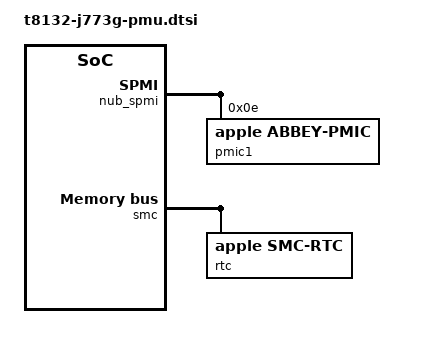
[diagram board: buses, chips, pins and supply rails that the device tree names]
// SPDX-License-Identifier: GPL-2.0+ OR MIT
/*
 * Main PMU (Abbey) NVMEM, SMC reboot/poweroff and SMC RTC for the M4 Mac
 * mini (J773g). Missing from GravityLinux gravity-m4 4fc326f6c2: its SMC node
 * has no reboot or rtc child, so poweroff has no handler and the RTC has no
 * offset cell.
 *
 * Values from this mini's macOS IORegistry (private/iodevicetree-j773g.txt,
 * 2026-10-13): nub-spmi0 IODeviceMemory 0x3_88714000; pmu-main@E compatible
 * "pmu,spmi","pmu,abbey", info-leg_scrpad 0xf800, info-pm_setting 0x2001,
 * info-clock_offset 0x2100 len 6, info-fault_shadow 0x867b len 0x10,
 * info-scrpad_socd 0x8b00 len 0x1800. All identical to the M4 Air (J713),
 * where upstream Omarchy-M4-Native proved the shutdown-state cells on
 * hardware (issue #24, PR #48, docs/j713-poweroff.md): without
 * shutdown_flag, SMC "off1" restarts the machine instead of powering off.
 *
 * The state cells sit at leg_scrpad + 1 / + 2 / + 0xf, as on every Apple
 * family in tree (T6030 Chapel has the same 0xf800 / 0x2001 / 0x2100 triple).
 *
 * Built into the linux-gravity-m4 DTB (pkgrel 5) and ladder group PMU.
 * Verified on the J773g 2026-10-17 (installed Omarchy, stage 2 with this DTB):
 * spmi_nvmem0 lists the cells, macsmc-reboot and macsmc-rtc bind, rtc0 keeps
 * time, and `systemctl poweroff` turns the mini fully off (power LED off).
 */

#include <dt-bindings/spmi/spmi.h>

&soc {
	nub_spmi: spmi@388714000 {
		compatible = "apple,t8132-spmi", "apple,t8103-spmi";
		reg = <0x3 0x88714000 0x0 0x100>;
		#address-cells = <2>;
		#size-cells = <0>;

		pmic1: pmic@e {
			compatible = "apple,abbey-pmic", "apple,spmi-nvmem";
			reg = <0xe SPMI_USID>;

			nvmem-layout {
				compatible = "fixed-layout";
				#address-cells = <1>;
				#size-cells = <1>;

				pm_setting: pm-setting@2001 {
					reg = <0x2001 0x1>;
				};

				rtc_offset: rtc-offset@2100 {
					reg = <0x2100 0x6>;
				};

				fault_shadow: fault-shadow@867b {
					reg = <0x867b 0x10>;
				};

				socd: socd@8b00 {
					reg = <0x8b00 0x1800>;
				};

				boot_stage: boot-stage@f801 {
					reg = <0xf801 0x1>;
				};

				boot_error_count: boot-error-count@f802,0 {
					reg = <0xf802 0x1>;
					bits = <0 4>;
				};

				panic_count: panic-count@f802,4 {
					reg = <0xf802 0x1>;
					bits = <4 4>;
				};

				shutdown_flag: shutdown-flag@f80f,3 {
					reg = <0xf80f 0x1>;
					bits = <3 1>;
				};
			};
		};
	};
};

&smc {
	smc_reboot: reboot {
		compatible = "apple,smc-reboot";
		nvmem-cells = <&shutdown_flag>, <&boot_stage>,
			<&boot_error_count>, <&panic_count>;
		nvmem-cell-names = "shutdown_flag", "boot_stage",
			"boot_error_count", "panic_count";
	};

	rtc {
		compatible = "apple,smc-rtc";
		nvmem-cells = <&rtc_offset>;
		nvmem-cell-names = "rtc_offset";
	};
};
